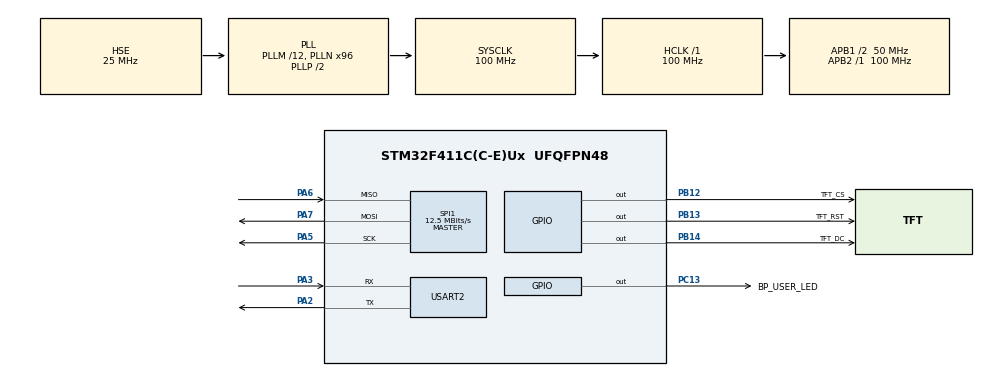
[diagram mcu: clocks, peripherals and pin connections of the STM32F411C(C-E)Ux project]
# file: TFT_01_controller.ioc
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Dma.Request0=USART2_RX
Dma.Request1=USART2_TX
Dma.USART2_RX.0.Direction=DMA_PERIPH_TO_MEMORY
Dma.USART2_RX.0.FIFOMode=DMA_FIFOMODE_DISABLE
Dma.USART2_RX.0.Instance=DMA1_Stream5
Dma.USART2_RX.0.MemDataAlignment=DMA_MDATAALIGN_BYTE
Dma.USART2_RX.0.MemInc=DMA_MINC_ENABLE
Dma.USART2_RX.0.Mode=DMA_NORMAL
Dma.USART2_RX.0.PeriphDataAlignment=DMA_PDATAALIGN_BYTE
Dma.USART2_RX.0.PeriphInc=DMA_PINC_DISABLE
Dma.USART2_RX.0.Priority=DMA_PRIORITY_LOW
Dma.USART2_TX.1.Direction=DMA_MEMORY_TO_PERIPH
Dma.USART2_TX.1.FIFOMode=DMA_FIFOMODE_DISABLE
Dma.USART2_TX.1.Instance=DMA1_Stream6
Dma.USART2_TX.1.MemDataAlignment=DMA_MDATAALIGN_BYTE
Dma.USART2_TX.1.MemInc=DMA_MINC_ENABLE
Dma.USART2_TX.1.Mode=DMA_NORMAL
Dma.USART2_TX.1.PeriphDataAlignment=DMA_PDATAALIGN_BYTE
Dma.USART2_TX.1.PeriphInc=DMA_PINC_DISABLE
Dma.USART2_TX.1.Priority=DMA_PRIORITY_LOW
Mcu.Family=STM32F4
Mcu.Name=STM32F411C(C-E)Ux
Mcu.Package=UFQFPN48
NVIC.DMA1_Stream5_IRQn=true\:0\:0\:false\:false\:true\:false\:true
NVIC.DMA1_Stream6_IRQn=true\:0\:0\:false\:false\:true\:false\:true
NVIC.PriorityGroup=NVIC_PRIORITYGROUP_4
NVIC.USART2_IRQn=true\:0\:0\:false\:false\:true\:true\:true
PA2.Mode=Asynchronous
PA2.Signal=USART2_TX
PA3.Mode=Asynchronous
PA3.Signal=USART2_RX
PA5.Mode=Full_Duplex_Master
PA5.Signal=SPI1_SCK
PA6.Mode=Full_Duplex_Master
PA6.Signal=SPI1_MISO
PA7.Mode=Full_Duplex_Master
PA7.Signal=SPI1_MOSI
PB12.GPIO_Label=TFT_CS
PB12.Signal=GPIO_Output
PB13.GPIO_Label=TFT_RST
PB13.Signal=GPIO_Output
PB14.GPIO_Label=TFT_DC
PB14.Signal=GPIO_Output
PC13-ANTI_TAMP.GPIO_Label=BP_USER_LED
PC13-ANTI_TAMP.Signal=GPIO_Output
PC14-OSC32_IN.Mode=LSE-External-Oscillator
PC14-OSC32_IN.Signal=RCC_OSC32_IN
PC15-OSC32_OUT.Mode=LSE-External-Oscillator
PC15-OSC32_OUT.Signal=RCC_OSC32_OUT
PH0\ -\ OSC_IN.Mode=HSE-External-Oscillator
PH0\ -\ OSC_IN.Signal=RCC_OSC_IN
PH1\ -\ OSC_OUT.Mode=HSE-External-Oscillator
PH1\ -\ OSC_OUT.Signal=RCC_OSC_OUT
ProjectManager.HeapSize=0x200
ProjectManager.StackSize=0x400
ProjectManager.TargetToolchain=STM32CubeIDE
RCC.48MHZClocksFreq_Value=50000000
RCC.AHBFreq_Value=100000000
RCC.APB1CLKDivider=RCC_HCLK_DIV2
RCC.APB1Freq_Value=50000000
RCC.APB1TimFreq_Value=100000000
RCC.APB2Freq_Value=100000000
RCC.APB2TimFreq_Value=100000000
RCC.CortexFreq_Value=100000000
RCC.HCLKFreq_Value=100000000
RCC.HSE_VALUE=25000000
RCC.HSI_VALUE=16000000
RCC.PLLM=12
RCC.PLLN=96
RCC.PLLSourceVirtual=RCC_PLLSOURCE_HSE
RCC.SYSCLKFreq_VALUE=100000000
RCC.SYSCLKSource=RCC_SYSCLKSOURCE_PLLCLK
RCC.VCOOutputFreq_Value=200000000
SPI1.BaudRatePrescaler=SPI_BAUDRATEPRESCALER_8
SPI1.CalculateBaudRate=12.5 MBits/s
SPI1.Direction=SPI_DIRECTION_2LINES
SPI1.Mode=SPI_MODE_MASTER
SPI1.VirtualType=VM_MASTER
USART2.VirtualMode=VM_ASYNC
board=custom

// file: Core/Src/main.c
/* USER CODE BEGIN Header */
/**
  ******************************************************************************
  * @file           : main.c
  * @project		: free_michelle
  * @author			: grados73 - https://github.com/grados73
  * @purpose		: kontroler dotykowego wyswietlacza TFT do interfejsu komunikacji z
  * 					uzytkownikiem dla projektu sterownika akwarium
  ******************************************************************************
  **/
/* USER CODE END Header */
#include "main.h"
#include "dma.h"
#include "spi.h"
#include "usart.h"
#include "gpio.h"

/* USER CODE BEGIN Includes */
#include "TFT_ILI9341.h"
#include "GFX_Color.h"
#include "GFX_EnhancedFonts.h"
#include "EnhancedFonts/arialBlack_20ptFontInfo.h"
#include "EnhancedFonts/ArialBlack_28pts_bold.h"
#include "string.h"
#include "stdio.h"
#include "functions.h"
#include "uartdma.h"
#include "parser.h"
#include "stdlib.h"
/* USER CODE END Includes */

/* USER CODE BEGIN PV */
uint8_t Msg[32];
UARTDMA_HandleTypeDef huartdma2;
uint8_t BufferReceive[64];
/* USER CODE END PV */

void SystemClock_Config(void);

int main(void)
{

  /* MCU Configuration--------------------------------------------------------*/

  /* Reset of all peripherals, Initializes the Flash interface and the Systick. */
  HAL_Init();

  /* Configure the system clock */
  SystemClock_Config();

  /* Initialize all configured peripherals */
  MX_GPIO_Init();
  MX_SPI1_Init();
  MX_DMA_Init();
  MX_USART2_UART_Init();
  /* USER CODE BEGIN 2 */
  ILI9341_Init(&hspi1);

  system_init();

  showCurrentParameters(0, 0, 0, 0, 0);

  UARTDMA_Init(&huartdma2, &huart2);

  // TO DO! - Tutaj przeprowadzić inicjalizację peryferiów i połączenia z drugim STMem

  /* USER CODE END 2 */

  /* Infinite loop */
  /* USER CODE BEGIN WHILE */
  while (1)
  {

	 // ILI9341_DrawImage(40, 50, logo, 240, 140);

	  if(UARTDMA_IsDataReceivedReady(&huartdma2))
	  {
		  UART_ParseLine(&huartdma2); // Parsing function
	  }

	  //
	  // TRANSMIT
	  //
	  UARTDMA_TransmitEvent(&huartdma2);
	  HAL_GPIO_TogglePin(BP_USER_LED_GPIO_Port, BP_USER_LED_Pin);

    /* USER CODE END WHILE */

  }
}

void SystemClock_Config(void)
{
  RCC_OscInitTypeDef RCC_OscInitStruct = {0};
  RCC_ClkInitTypeDef RCC_ClkInitStruct = {0};

  /** Configure the main internal regulator output voltage
  */
  __HAL_RCC_PWR_CLK_ENABLE();
  __HAL_PWR_VOLTAGESCALING_CONFIG(PWR_REGULATOR_VOLTAGE_SCALE1);
  /** Initializes the RCC Oscillators according to the specified parameters
  * in the RCC_OscInitTypeDef structure.
  */
  RCC_OscInitStruct.OscillatorType = RCC_OSCILLATORTYPE_HSE;
  RCC_OscInitStruct.HSEState = RCC_HSE_ON;
  RCC_OscInitStruct.PLL.PLLState = RCC_PLL_ON;
  RCC_OscInitStruct.PLL.PLLSource = RCC_PLLSOURCE_HSE;
  RCC_OscInitStruct.PLL.PLLM = 12;
  RCC_OscInitStruct.PLL.PLLN = 96;
  RCC_OscInitStruct.PLL.PLLP = RCC_PLLP_DIV2;
  RCC_OscInitStruct.PLL.PLLQ = 4;
  if (HAL_RCC_OscConfig(&RCC_OscInitStruct) != HAL_OK)
  {
    Error_Handler();
  }
  /** Initializes the CPU, AHB and APB buses clocks
  */
  RCC_ClkInitStruct.ClockType = RCC_CLOCKTYPE_HCLK|RCC_CLOCKTYPE_SYSCLK
                              |RCC_CLOCKTYPE_PCLK1|RCC_CLOCKTYPE_PCLK2;
  RCC_ClkInitStruct.SYSCLKSource = RCC_SYSCLKSOURCE_PLLCLK;
  RCC_ClkInitStruct.AHBCLKDivider = RCC_SYSCLK_DIV1;
  RCC_ClkInitStruct.APB1CLKDivider = RCC_HCLK_DIV2;
  RCC_ClkInitStruct.APB2CLKDivider = RCC_HCLK_DIV1;

  if (HAL_RCC_ClockConfig(&RCC_ClkInitStruct, FLASH_LATENCY_3) != HAL_OK)
  {
    Error_Handler();
  }
}

void Error_Handler(void)
{
  __disable_irq();
  while (1)
  {
  }
}

/************************ (C) COPYRIGHT STMicroelectronics *****END OF FILE****/
